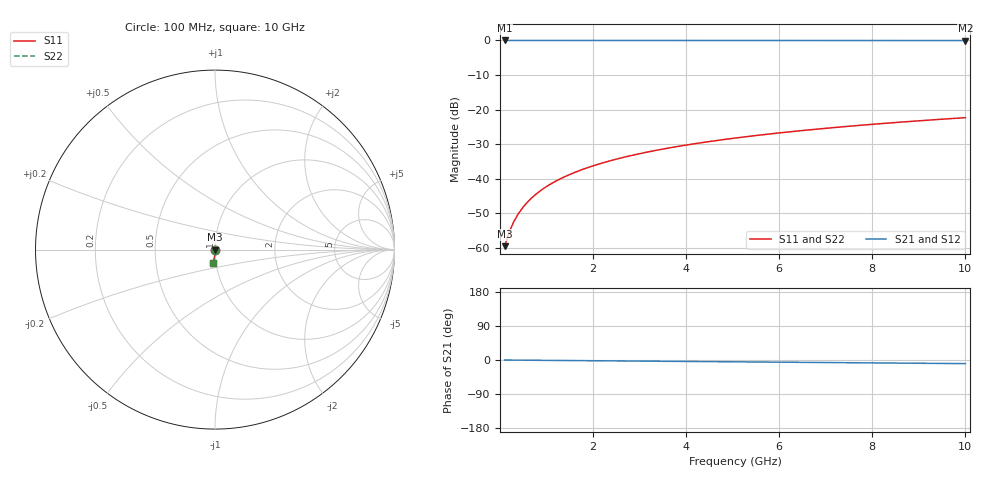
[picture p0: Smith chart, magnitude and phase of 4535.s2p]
# Hz S RI R 50.00
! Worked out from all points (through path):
!   100 points, 100 MHz to 10 GHz, reference 50 ohm
!   highest |S21| = -0.01 dB at 100 MHz (marker M1); lowest = 0.0 dB at 10 GHz (marker M2)
!   group delay of S21, straight-line fit = 2.65 ps
!   lowest |S11| = -59.5 dB at 100 MHz (marker M3), VSWR 1.00, Z = 50.1 - j0.077 ohm
!   |S11| at or under -10 dB: start of sweep to end of sweep
!   |S22| runs from -59.5 to -22.3 dB; largest |S21 - S12| = 0
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1e8  0.00073 -0.000769  0.9993 -0.00167  0.9993 -0.00167  0.00073 -0.000769
2e8  0.00073 -0.00154  0.9993 -0.00333  0.9993 -0.00333  0.00073 -0.00154
3e8  0.000726 -0.00231  0.9992 -0.005  0.9992 -0.005  0.000726 -0.00231
4e8  0.000719 -0.00307  0.9992 -0.00666  0.9992 -0.00666  0.000719 -0.00307
5e8  0.000708 -0.00384  0.9992 -0.00833  0.9992 -0.00833  0.000708 -0.00384
6e8  0.000695 -0.00461  0.9992 -0.00999  0.9992 -0.00999  0.000695 -0.00461
7e8  0.00068 -0.00538  0.9992 -0.0117  0.9992 -0.0117  0.00068 -0.00538
8e8  0.000661 -0.00615  0.9991 -0.0133  0.9991 -0.0133  0.000661 -0.00615
9e8  0.00064 -0.00692  0.9991 -0.015  0.9991 -0.015  0.00064 -0.00692
1.1e9  0.00059 -0.00845  0.999 -0.0183  0.999 -0.0183  0.00059 -0.00845
1.4e9  0.000495 -0.0108  0.9989 -0.0233  0.9989 -0.0233  0.000495 -0.0108
1.8e9  0.000332 -0.0138  0.9987 -0.03  0.9987 -0.03  0.000332 -0.0138
2.1e9  0.000182 -0.0161  0.9985 -0.035  0.9985 -0.035  0.000182 -0.0161
2.5e9  -5.35e-05 -0.0192  0.9981 -0.0416  0.9981 -0.0416  -5.35e-05 -0.0192
2.9e9  -0.00033 -0.0223  0.9978 -0.0483  0.9978 -0.0483  -0.00033 -0.0223
3.4e9  -0.000733 -0.0261  0.9972 -0.0566  0.9972 -0.0566  -0.000733 -0.0261
4.2e9  -0.00151 -0.0322  0.9962 -0.0698  0.9962 -0.0698  -0.00151 -0.0322
5.1e9  -0.00258 -0.039  0.9948 -0.0848  0.9948 -0.0848  -0.00258 -0.039
5.9e9  -0.0037 -0.0451  0.9933 -0.098  0.9933 -0.098  -0.0037 -0.0451
6.7e9  -0.00499 -0.0511  0.9916 -0.1112  0.9916 -0.1112  -0.00499 -0.0511
8.4e9  -0.00824 -0.0637  0.9872 -0.1391  0.9872 -0.1391  -0.00824 -0.0637
1e10  -0.0119 -0.0755  0.9823 -0.1652  0.9823 -0.1652  -0.0119 -0.0755
